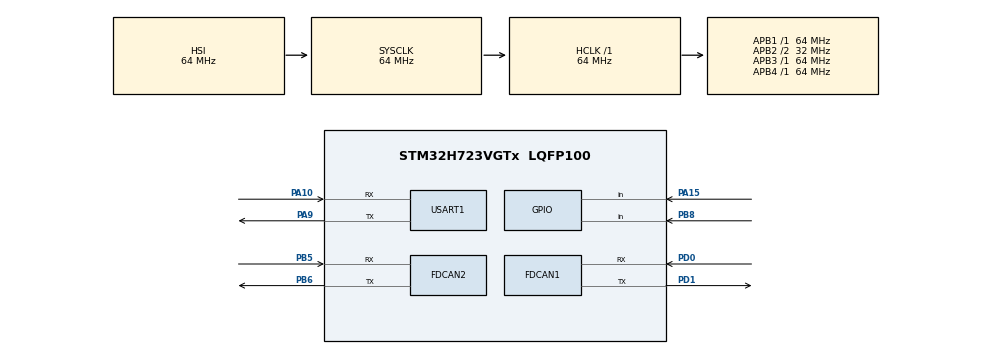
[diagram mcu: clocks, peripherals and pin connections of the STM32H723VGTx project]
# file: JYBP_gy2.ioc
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CORTEX_M7.default_mode_Activation=1
FDCAN1.CalculateBaudRateNominal=1000000
FDCAN1.CalculateTimeBitNominal=1000
FDCAN1.CalculateTimeQuantumNominal=83.33333333333333
FDCAN1.ExtFiltersNbr=2
FDCAN1.NominalPrescaler=4
FDCAN1.NominalTimeSeg1=9
FDCAN1.RxFifo0ElmtsNbr=2
FDCAN1.TxFifoQueueElmtsNbr=3
FDCAN2.CalculateBaudRateNominal=1000000
FDCAN2.CalculateTimeBitNominal=1000
FDCAN2.CalculateTimeQuantumNominal=83.33333333333333
FDCAN2.ExtFiltersNbr=2
FDCAN2.NominalPrescaler=4
FDCAN2.NominalTimeSeg1=9
FDCAN2.RxFifo0ElmtsNbr=2
FDCAN2.TxFifoQueueElmtsNbr=3
Mcu.Family=STM32H7
Mcu.Name=STM32H723VGTx
Mcu.Package=LQFP100
NVIC.FDCAN1_IT0_IRQn=true\:0\:0\:false\:false\:true\:true\:true\:true
NVIC.FDCAN1_IT1_IRQn=true\:0\:0\:false\:false\:true\:true\:true\:true
NVIC.FDCAN2_IT0_IRQn=true\:0\:0\:false\:false\:true\:true\:true\:true
NVIC.FDCAN2_IT1_IRQn=true\:0\:0\:false\:false\:true\:true\:true\:true
NVIC.PriorityGroup=NVIC_PRIORITYGROUP_4
NVIC.TIM2_IRQn=true\:0\:0\:false\:false\:true\:true\:true\:true
NVIC.TIM3_IRQn=true\:1\:0\:true\:false\:true\:true\:true\:true
PA10.Mode=Asynchronous
PA10.Signal=USART1_RX
PA15(JTDI).GPIO_PuPd=GPIO_PULLUP
PA15(JTDI).Signal=GPIO_Input
PA9.Mode=Asynchronous
PA9.Signal=USART1_TX
PB5.Mode=FDCAN_Activate
PB5.Signal=FDCAN2_RX
PB6.Mode=FDCAN_Activate
PB6.Signal=FDCAN2_TX
PB8.GPIO_PuPd=GPIO_PULLUP
PB8.Signal=GPIO_Input
PD0.Mode=FDCAN_Activate
PD0.Signal=FDCAN1_RX
PD1.Mode=FDCAN_Activate
PD1.Signal=FDCAN1_TX
PH0-OSC_IN.Mode=HSE-External-Oscillator
PH0-OSC_IN.Signal=RCC_OSC_IN
PH1-OSC_OUT.Mode=HSE-External-Oscillator
PH1-OSC_OUT.Signal=RCC_OSC_OUT
ProjectManager.HeapSize=0x200
ProjectManager.StackSize=0x400
ProjectManager.TargetToolchain=MDK-ARM V5.32
RCC.ADCFreq_Value=129000000
RCC.APB1Freq_Value=64000000
RCC.APB2Freq_Value=32000000
RCC.APB3Freq_Value=64000000
RCC.APB4Freq_Value=64000000
RCC.CortexFreq_Value=64000000
RCC.D2PPRE2=RCC_APB2_DIV2
RCC.DIVM1=4
RCC.DIVN1=12
RCC.DIVQ1=4
RCC.HCLKFreq_Value=64000000
RCC.PLLFRACN=0
RCC.SYSCLKFreq_VALUE=64000000
RCC.USBFreq_Value=48000000
TIM2.Period=999
TIM2.Prescaler=3199
TIM3.Period=9999
TIM3.Prescaler=639
USART1.VirtualMode-Asynchronous=VM_ASYNC
VP_MEMORYMAP_VS_MEMORYMAP.Mode=CurAppReg
VP_TIM2_VS_ClockSourceINT.Mode=Internal
VP_TIM3_VS_ClockSourceINT.Mode=Internal
board=custom

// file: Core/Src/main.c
/* USER CODE BEGIN Header */
/**
  ******************************************************************************
  * @file           : main.c
  * @brief          : Main program body
  ******************************************************************************
  * @attention
  *
  * Copyright (c) 2025 STMicroelectronics.
  * All rights reserved.
  *
  * This software is licensed under terms that can be found in the LICENSE file
  * in the root directory of this software component.
  * If no LICENSE file comes with this software, it is provided AS-IS.
  *
  ******************************************************************************
  */
/* USER CODE END Header */
#include "main.h"
/* USER CODE BEGIN Includes */
#include "ad_can.h" // 新增：包含共享頭文件
/* USER CODE END Includes */

/* USER CODE BEGIN PD */

#define LASER_ID 0x101        // ????? CAN ID
#define MOTOR_POS_ID 0x302    // CyberGear ???? CAN ID
#define TARGET_DISTANCE 330.0 // ????,?? mm
#define NOISE_THRESHOLD 25.0  // ?????,?25mm
#define ALPHA 0.05            // EMA ????
#define WINDOW_VAR 1200       // ????,60s / 0.05s = 1200 ??
#define STOP_THRESHOLD 0.000025 // ??????
#define TREND_THRESHOLD 10.0  // ????,?10mm
#define CONTROL_INTERVAL 30   // ????,30s
#define STOP_PIN GPIO_PIN_0   // ????,PA0
#define STOP_PORT GPIOA
#define PAUSE_PIN GPIO_PIN_1  // ????,PA1

/* USER CODE END PD */

FDCAN_HandleTypeDef hfdcan1;
FDCAN_HandleTypeDef hfdcan2;

TIM_HandleTypeDef htim2;
TIM_HandleTypeDef htim3;

 UART_HandleTypeDef huart1; // ??????

/* USER CODE BEGIN PV */

float laser_filtered = 0;    // ???????
float laser_ema = 0;         // EMA ?
float motor_pos = 0;         // ????(?)
float last_ema = 0;          // ??? EMA ?
float variance = 0;          // ??????
float window_data[WINDOW_VAR]; // ????????
uint32_t window_idx = 0;     // ????
uint8_t is_stopped = 0;      // ??????
//uint8_t tx_data_jogp[8]={0x05,0x70,0x00,0x00,0x07,0x01,0x95,0x54};
uint8_t AD_Return[8]={0x00,0x00,0x00,0x00,0x00,0x00,0x00,0x00};
uint8_t d2_runmode=0;
uint8_t is_timer2_interrupt_triggered = 0; //Timer 2 1s motor
uint8_t is_timer3_interrupt_triggered = 0; // AD converter & CAN
float ch6_value = 0.0f; // �?6路模擬量值（V �? A�?
float ch8_value = 0.0f; // �?8路模擬量值（V �? A�?
volatile uint8_t ADcan_data_received = 0; // CAN 數據接收標誌
uint8_t rx_data[8]={0x00,0x00,0x00,0x00,0x00,0x00,0x00,0x00};
/* USER CODE END PV */

void SystemClock_Config(void);
static void MPU_Config(void);
static void MX_GPIO_Init(void);
static void MX_FDCAN1_Init(void);
static void MX_FDCAN2_Init(void);
static void MX_TIM2_Init(void);
static void MX_TIM3_Init(void);
static void MX_USART1_UART_Init(void);

/* USER CODE BEGIN 0 */

void HAL_TIM_PeriodElapsedCallback(TIM_HandleTypeDef *htim)
{
    if (htim->Instance == TIM2)  // �?查是否是 TIM2 的中�?
    {
        // 设置标志位，通知主循环执行相应�?�辑
        is_timer2_interrupt_triggered = 1;
    }
    if (htim->Instance == TIM3)  // �?查是否是 TIM3 的中�?
    {
        // 设置标志位，通知主循环执行相应�?�辑
        is_timer3_interrupt_triggered = 1;
    }
}

/* USER CODE END 0 */

int main(void)
{

  /* MPU Configuration--------------------------------------------------------*/
  MPU_Config();

  /* MCU Configuration--------------------------------------------------------*/

  /* Reset of all peripherals, Initializes the Flash interface and the Systick. */
  HAL_Init();

  /* Configure the system clock */
  SystemClock_Config();

  /* Initialize all configured peripherals */
  MX_GPIO_Init();
  MX_FDCAN1_Init();
  MX_FDCAN2_Init();
  MX_TIM2_Init();
  MX_TIM3_Init();
  MX_USART1_UART_Init();
  /* USER CODE BEGIN 2 */
  HAL_TIM_Base_Start_IT(&htim2);
  HAL_TIM_Base_Start_IT(&htim3);

	CybergearCanInterfaceStm32 cybergear_can_interface_1;  //AD_Can  can_1
	CybergearCanInterfaceStm32 cybergear_can_interface_2;  // Motor control can_2

  cybergear_can_interface_2.initCan(&hfdcan2);
	cybergear_can_interface_1.initCan(&hfdcan1);

  CybergearDriver driver1_(0xFD, 0x001);
  CybergearDriver driver2_(0xFD, 0x002);

	CybergearDriver AD_Can(0x00, 0x001);

  driver1_.init(&cybergear_can_interface_2);
  driver2_.init(&cybergear_can_interface_2);
	AD_Can.init(&cybergear_can_interface_1);

	//uint8_t test_data[8] = {0x01, 0x02, 0x03, 0x04, 0x05, 0x06, 0x07, 0x08};
	//cybergear_can_interface_1.send_message(0x00AA0601, test_data, 8, true);
	//cybergear_can_interface_1.reset_motor();

  driver1_.reset_motor();
  driver1_.set_mech_position_to_zero();
  driver1_.enable_motor();
  driver1_.set_run_mode(CMD_CONTROL);
	//cybergear_can_interface_2.send_message(0x00AA0601, test_data, 8, true);
  driver2_.reset_motor();
	//d2_runmode=driver2_.	get_run_mode();
  driver2_.set_mech_position_to_zero();
	//d2_runmode=driver2_.	get_run_mode();
  driver2_.enable_motor();
	//d2_runmode=driver2_.	get_run_mode();
  driver2_.set_run_mode(CMD_CONTROL);
	//d2_runmode=driver2_.	get_run_mode();
	//uint8_t test_data[8] = {0x01, 0x02, 0x03, 0x04, 0x05, 0x06, 0x07, 0x08};
	//cybergear_can_interface_2.send_message(0x12345678, test_data, 8, true);
	HAL_Delay(100);
  /* USER CODE END 2 */

  /* Infinite loop */
  /* USER CODE BEGIN WHILE */
  while (1)
  {
//			char msg[50];

		//pinState= HAL_GPIO_ReadPin(GPIOB, GPIO_PIN_8);
		//sprintf(msg, "PinState: %d\r\n", pinState);
    /* USER CODE END WHILE */

    /* USER CODE BEGIN 3 */
    HAL_GPIO_TogglePin(GPIOB, GPIO_PIN_8);
		HAL_Delay(500);
    unsigned long id_return_AD;
    uint8_t AD_lens;

    uint16_t ch6_raw=0 ;
    uint16_t ch8_raw=0;

		GPIO_PinState pinState = HAL_GPIO_ReadPin(GPIOB, GPIO_PIN_8);

    if (is_timer2_interrupt_triggered)
    {
        // 执行定时器中断触发的逻辑

        if (pinState == GPIO_PIN_SET) {
         // driver1_.motor_control(0.0, 0.1, 0.0, 15, 1);
          HAL_Delay(500);
       //   driver2_.motor_control(0.0, 0.1, 0.0, 15, 1);
          HAL_Delay(500);
        //  driver1_.motor_control(1.0, 0.1, 0.0, 15, 1);
          HAL_Delay(500);
        //  driver2_.motor_control(1.0, 0.1, 0.0, 15, 1);
          HAL_Delay(500);
          //HAL_FDCAN_AddMessageToTxFifoQ(hfdcan2, &TxHeader, data);
          //cybergear_can_interface_.send_message(0x12345678, test_data, 8, true);
          //fdcanx_send_data(&hfdcan2, 0x1200fd02, tx_data_jogp, 8);
          HAL_Delay(500);
              } else {
                  driver2_.reset_motor();
                  driver1_.reset_motor();
                  HAL_Delay(500);
              }
        is_timer2_interrupt_triggered = 0;      // 清除标志�?
    }

    if (is_timer3_interrupt_triggered)
    {
        // 执行定时器中断触发的逻辑
        AD_Can.Send_ADC_Read();
        uint32_t tickstart = HAL_GetTick();

        while (!ADcan_data_received && (HAL_GetTick() - tickstart) < 100)
            {
                HAL_Delay(1);

            }

			 if (ADcan_data_received)
            {
            //  AD_Can.Read_ADC_Read(id_return_AD,AD_Return,AD_lens);
              //ch6_raw = (AD_Return[2] << 8) | AD_Return[3];
              ch8_raw = (rx_data[6] << 8) | rx_data[7];
              //ch6_value = (float)ch6_raw / 1000.0f;
              ch8_value = (float)ch8_raw / 1000.0f;
              ADcan_data_received = 0; // 清除标志

							//pinState= HAL_GPIO_ReadPin(GPIOB, GPIO_PIN_8);
							//sprintf(msg, "ch8: %d\r\n", ch8_value);
							 //printf("Hello, STM32!\n");
						//	 fflush(stdout);
							//sprintf(msg, " ch8_id: %X\r\n ch8_va: %X\r\n", id_return_AD,AD_Return[7]);
//							HAL_UART_Transmit(&huart1, (uint8_t*)msg, strlen(msg), 0xFFFF);

            }
            else
            {

            }

     //   unsigned long id_return_AD;
    //    uint8_t AD_lens;
 //       AD_Can.Read_ADC_Read(id_return_AD,AD_Return,AD_lens);
        is_timer3_interrupt_triggered = 0;      // 清除标志�?
    }

   }
  /* USER CODE END 3 */
}

void SystemClock_Config(void)
{
  RCC_OscInitTypeDef RCC_OscInitStruct = {0};
  RCC_ClkInitTypeDef RCC_ClkInitStruct = {0};

  /** Supply configuration update enable
  */
  HAL_PWREx_ConfigSupply(PWR_LDO_SUPPLY);

  /** Configure the main internal regulator output voltage
  */
  __HAL_PWR_VOLTAGESCALING_CONFIG(PWR_REGULATOR_VOLTAGE_SCALE3);

  while(!__HAL_PWR_GET_FLAG(PWR_FLAG_VOSRDY)) {}

  /** Initializes the RCC Oscillators according to the specified parameters
  * in the RCC_OscInitTypeDef structure.
  */
  RCC_OscInitStruct.OscillatorType = RCC_OSCILLATORTYPE_HSI;
  RCC_OscInitStruct.HSIState = RCC_HSI_DIV1;
  RCC_OscInitStruct.HSICalibrationValue = 64;
  RCC_OscInitStruct.PLL.PLLState = RCC_PLL_ON;
  RCC_OscInitStruct.PLL.PLLSource = RCC_PLLSOURCE_HSI;
  RCC_OscInitStruct.PLL.PLLM = 4;
  RCC_OscInitStruct.PLL.PLLN = 12;
  RCC_OscInitStruct.PLL.PLLP = 2;
  RCC_OscInitStruct.PLL.PLLQ = 4;
  RCC_OscInitStruct.PLL.PLLR = 2;
  RCC_OscInitStruct.PLL.PLLRGE = RCC_PLL1VCIRANGE_3;
  RCC_OscInitStruct.PLL.PLLVCOSEL = RCC_PLL1VCOWIDE;
  RCC_OscInitStruct.PLL.PLLFRACN = 0;
  if (HAL_RCC_OscConfig(&RCC_OscInitStruct) != HAL_OK)
  {
    Error_Handler();
  }

  /** Initializes the CPU, AHB and APB buses clocks
  */
  RCC_ClkInitStruct.ClockType = RCC_CLOCKTYPE_HCLK|RCC_CLOCKTYPE_SYSCLK
                              |RCC_CLOCKTYPE_PCLK1|RCC_CLOCKTYPE_PCLK2
                              |RCC_CLOCKTYPE_D3PCLK1|RCC_CLOCKTYPE_D1PCLK1;
  RCC_ClkInitStruct.SYSCLKSource = RCC_SYSCLKSOURCE_HSI;
  RCC_ClkInitStruct.SYSCLKDivider = RCC_SYSCLK_DIV1;
  RCC_ClkInitStruct.AHBCLKDivider = RCC_HCLK_DIV1;
  RCC_ClkInitStruct.APB3CLKDivider = RCC_APB3_DIV1;
  RCC_ClkInitStruct.APB1CLKDivider = RCC_APB1_DIV1;
  RCC_ClkInitStruct.APB2CLKDivider = RCC_APB2_DIV2;
  RCC_ClkInitStruct.APB4CLKDivider = RCC_APB4_DIV1;

  if (HAL_RCC_ClockConfig(&RCC_ClkInitStruct, FLASH_LATENCY_1) != HAL_OK)
  {
    Error_Handler();
  }
}

static void MX_FDCAN1_Init(void)
{

  hfdcan1.Instance = FDCAN1;
  hfdcan1.Init.FrameFormat = FDCAN_FRAME_CLASSIC;
  hfdcan1.Init.Mode = FDCAN_MODE_NORMAL;
  hfdcan1.Init.AutoRetransmission = DISABLE;
  hfdcan1.Init.TransmitPause = DISABLE;
  hfdcan1.Init.ProtocolException = DISABLE;
  hfdcan1.Init.NominalPrescaler = 4;
  hfdcan1.Init.NominalSyncJumpWidth = 1;
  hfdcan1.Init.NominalTimeSeg1 = 9;
  hfdcan1.Init.NominalTimeSeg2 = 2;
  hfdcan1.Init.DataPrescaler = 1;
  hfdcan1.Init.DataSyncJumpWidth = 1;
  hfdcan1.Init.DataTimeSeg1 = 1;
  hfdcan1.Init.DataTimeSeg2 = 1;
  hfdcan1.Init.MessageRAMOffset = 0;
  hfdcan1.Init.StdFiltersNbr = 0;
  hfdcan1.Init.ExtFiltersNbr = 2;
  hfdcan1.Init.RxFifo0ElmtsNbr = 8;
  hfdcan1.Init.RxFifo0ElmtSize = FDCAN_DATA_BYTES_8;
  hfdcan1.Init.RxFifo1ElmtsNbr = 0;
  hfdcan1.Init.RxFifo1ElmtSize = FDCAN_DATA_BYTES_8;
  hfdcan1.Init.RxBuffersNbr = 0;
  hfdcan1.Init.RxBufferSize = FDCAN_DATA_BYTES_8;
  hfdcan1.Init.TxEventsNbr = 0;
  hfdcan1.Init.TxBuffersNbr = 0;
  hfdcan1.Init.TxFifoQueueElmtsNbr = 3;
  hfdcan1.Init.TxFifoQueueMode = FDCAN_TX_FIFO_OPERATION;
  hfdcan1.Init.TxElmtSize = FDCAN_DATA_BYTES_8;
  if (HAL_FDCAN_Init(&hfdcan1) != HAL_OK)
  {
    Error_Handler();
  }

}

static void MX_FDCAN2_Init(void)
{

  hfdcan2.Instance = FDCAN2;
  hfdcan2.Init.FrameFormat = FDCAN_FRAME_CLASSIC;
  hfdcan2.Init.Mode = FDCAN_MODE_NORMAL;
  hfdcan2.Init.AutoRetransmission = DISABLE;
  hfdcan2.Init.TransmitPause = DISABLE;
  hfdcan2.Init.ProtocolException = DISABLE;
  hfdcan2.Init.NominalPrescaler = 4;
  hfdcan2.Init.NominalSyncJumpWidth = 1;
  hfdcan2.Init.NominalTimeSeg1 = 9;
  hfdcan2.Init.NominalTimeSeg2 = 2;
  hfdcan2.Init.DataPrescaler = 1;
  hfdcan2.Init.DataSyncJumpWidth = 1;
  hfdcan2.Init.DataTimeSeg1 = 1;
  hfdcan2.Init.DataTimeSeg2 = 1;
  hfdcan2.Init.MessageRAMOffset = 0;
  hfdcan2.Init.StdFiltersNbr = 0;
  hfdcan2.Init.ExtFiltersNbr = 2;
  hfdcan2.Init.RxFifo0ElmtsNbr = 2;
  hfdcan2.Init.RxFifo0ElmtSize = FDCAN_DATA_BYTES_8;
  hfdcan2.Init.RxFifo1ElmtsNbr = 0;
  hfdcan2.Init.RxFifo1ElmtSize = FDCAN_DATA_BYTES_8;
  hfdcan2.Init.RxBuffersNbr = 0;
  hfdcan2.Init.RxBufferSize = FDCAN_DATA_BYTES_8;
  hfdcan2.Init.TxEventsNbr = 0;
  hfdcan2.Init.TxBuffersNbr = 0;
  hfdcan2.Init.TxFifoQueueElmtsNbr = 3;
  hfdcan2.Init.TxFifoQueueMode = FDCAN_TX_FIFO_OPERATION;
  hfdcan2.Init.TxElmtSize = FDCAN_DATA_BYTES_8;
  if (HAL_FDCAN_Init(&hfdcan2) != HAL_OK)
  {
    Error_Handler();
  }

}

static void MX_TIM2_Init(void)
{

  TIM_ClockConfigTypeDef sClockSourceConfig = {0};
  TIM_MasterConfigTypeDef sMasterConfig = {0};

  htim2.Instance = TIM2;
  htim2.Init.Prescaler = 3199;
  htim2.Init.CounterMode = TIM_COUNTERMODE_UP;
  htim2.Init.Period = 999;
  htim2.Init.ClockDivision = TIM_CLOCKDIVISION_DIV1;
  htim2.Init.AutoReloadPreload = TIM_AUTORELOAD_PRELOAD_DISABLE;
  if (HAL_TIM_Base_Init(&htim2) != HAL_OK)
  {
    Error_Handler();
  }
  sClockSourceConfig.ClockSource = TIM_CLOCKSOURCE_INTERNAL;
  if (HAL_TIM_ConfigClockSource(&htim2, &sClockSourceConfig) != HAL_OK)
  {
    Error_Handler();
  }
  sMasterConfig.MasterOutputTrigger = TIM_TRGO_RESET;
  sMasterConfig.MasterSlaveMode = TIM_MASTERSLAVEMODE_DISABLE;
  if (HAL_TIMEx_MasterConfigSynchronization(&htim2, &sMasterConfig) != HAL_OK)
  {
    Error_Handler();
  }

}

static void MX_TIM3_Init(void)
{

  TIM_ClockConfigTypeDef sClockSourceConfig = {0};
  TIM_MasterConfigTypeDef sMasterConfig = {0};

  htim3.Instance = TIM3;
  htim3.Init.Prescaler = 639;
  htim3.Init.CounterMode = TIM_COUNTERMODE_UP;
  htim3.Init.Period = 9999;
  htim3.Init.ClockDivision = TIM_CLOCKDIVISION_DIV1;
  htim3.Init.AutoReloadPreload = TIM_AUTORELOAD_PRELOAD_DISABLE;
  if (HAL_TIM_Base_Init(&htim3) != HAL_OK)
  {
    Error_Handler();
  }
  sClockSourceConfig.ClockSource = TIM_CLOCKSOURCE_INTERNAL;
  if (HAL_TIM_ConfigClockSource(&htim3, &sClockSourceConfig) != HAL_OK)
  {
    Error_Handler();
  }
  sMasterConfig.MasterOutputTrigger = TIM_TRGO_RESET;
  sMasterConfig.MasterSlaveMode = TIM_MASTERSLAVEMODE_DISABLE;
  if (HAL_TIMEx_MasterConfigSynchronization(&htim3, &sMasterConfig) != HAL_OK)
  {
    Error_Handler();
  }

}

static void MX_USART1_UART_Init(void)
{

  huart1.Instance = USART1;
  huart1.Init.BaudRate = 115200;
  huart1.Init.WordLength = UART_WORDLENGTH_8B;
  huart1.Init.StopBits = UART_STOPBITS_1;
  huart1.Init.Parity = UART_PARITY_NONE;
  huart1.Init.Mode = UART_MODE_TX_RX;
  huart1.Init.HwFlowCtl = UART_HWCONTROL_NONE;
  huart1.Init.OverSampling = UART_OVERSAMPLING_16;
  huart1.Init.OneBitSampling = UART_ONE_BIT_SAMPLE_DISABLE;
  huart1.Init.ClockPrescaler = UART_PRESCALER_DIV1;
  huart1.AdvancedInit.AdvFeatureInit = UART_ADVFEATURE_NO_INIT;
  if (HAL_UART_Init(&huart1) != HAL_OK)
  {
    Error_Handler();
  }
  if (HAL_UARTEx_SetTxFifoThreshold(&huart1, UART_TXFIFO_THRESHOLD_1_8) != HAL_OK)
  {
    Error_Handler();
  }
  if (HAL_UARTEx_SetRxFifoThreshold(&huart1, UART_RXFIFO_THRESHOLD_1_8) != HAL_OK)
  {
    Error_Handler();
  }
  if (HAL_UARTEx_DisableFifoMode(&huart1) != HAL_OK)
  {
    Error_Handler();
  }

}

static void MX_GPIO_Init(void)
{
  GPIO_InitTypeDef GPIO_InitStruct = {0};

  /* GPIO Ports Clock Enable */
  __HAL_RCC_GPIOH_CLK_ENABLE();
  __HAL_RCC_GPIOA_CLK_ENABLE();
  __HAL_RCC_GPIOD_CLK_ENABLE();
  __HAL_RCC_GPIOB_CLK_ENABLE();

  /*Configure GPIO pin : PA15 */
  GPIO_InitStruct.Pin = GPIO_PIN_15;
  GPIO_InitStruct.Mode = GPIO_MODE_INPUT;
  GPIO_InitStruct.Pull = GPIO_PULLUP;
  HAL_GPIO_Init(GPIOA, &GPIO_InitStruct);

  /*Configure GPIO pin : PB8 */
  GPIO_InitStruct.Pin = GPIO_PIN_8;
  GPIO_InitStruct.Mode = GPIO_MODE_INPUT;
  GPIO_InitStruct.Pull = GPIO_PULLUP;
  HAL_GPIO_Init(GPIOB, &GPIO_InitStruct);

}

/* USER CODE BEGIN 4 */
void fdcanx_send_data(FDCAN_HandleTypeDef *hfdcan, uint32_t id, uint8_t *data, uint32_t len)
{
	FDCAN_TxHeaderTypeDef TxHeader;

  TxHeader.Identifier = id;
  //TxHeader.IdType = FDCAN_STANDARD_ID;																// ��׼ID
	TxHeader.IdType = FDCAN_EXTENDED_ID;																// ��׼ID
  TxHeader.TxFrameType = FDCAN_DATA_FRAME;														// ����֡
  TxHeader.DataLength =  FDCAN_DLC_BYTES_8;																		// �������ݳ���
  TxHeader.ErrorStateIndicator = FDCAN_ESI_ACTIVE;										// ���ô���״ָ̬ʾ
  TxHeader.BitRateSwitch = FDCAN_BRS_OFF;															// �������ɱ䲨����
  TxHeader.FDFormat = FDCAN_CLASSIC_CAN;															// ��ͨCAN��ʽ
  TxHeader.TxEventFifoControl = FDCAN_NO_TX_EVENTS;										// ���ڷ����¼�FIFO����, ���洢
  TxHeader.MessageMarker = 0x00; 			// ���ڸ��Ƶ�TX EVENT FIFO����ϢMaker��ʶ����Ϣ״̬����Χ0��0xFF
  HAL_FDCAN_AddMessageToTxFifoQ(hfdcan, &TxHeader, data)!=HAL_OK;

}

/* USER CODE END 4 */

 /* MPU Configuration */

void MPU_Config(void)
{
  MPU_Region_InitTypeDef MPU_InitStruct = {0};

  /* Disables the MPU */
  HAL_MPU_Disable();

  /** Initializes and configures the Region and the memory to be protected
  */
  MPU_InitStruct.Enable = MPU_REGION_ENABLE;
  MPU_InitStruct.Number = MPU_REGION_NUMBER0;
  MPU_InitStruct.BaseAddress = 0x0;
  MPU_InitStruct.Size = MPU_REGION_SIZE_4GB;
  MPU_InitStruct.SubRegionDisable = 0x87;
  MPU_InitStruct.TypeExtField = MPU_TEX_LEVEL0;
  MPU_InitStruct.AccessPermission = MPU_REGION_NO_ACCESS;
  MPU_InitStruct.DisableExec = MPU_INSTRUCTION_ACCESS_DISABLE;
  MPU_InitStruct.IsShareable = MPU_ACCESS_SHAREABLE;
  MPU_InitStruct.IsCacheable = MPU_ACCESS_NOT_CACHEABLE;
  MPU_InitStruct.IsBufferable = MPU_ACCESS_NOT_BUFFERABLE;

  HAL_MPU_ConfigRegion(&MPU_InitStruct);
  /* Enables the MPU */
  HAL_MPU_Enable(MPU_PRIVILEGED_DEFAULT);

}

void Error_Handler(void)
{
  __disable_irq();
  while (1)
  {
  }
}
